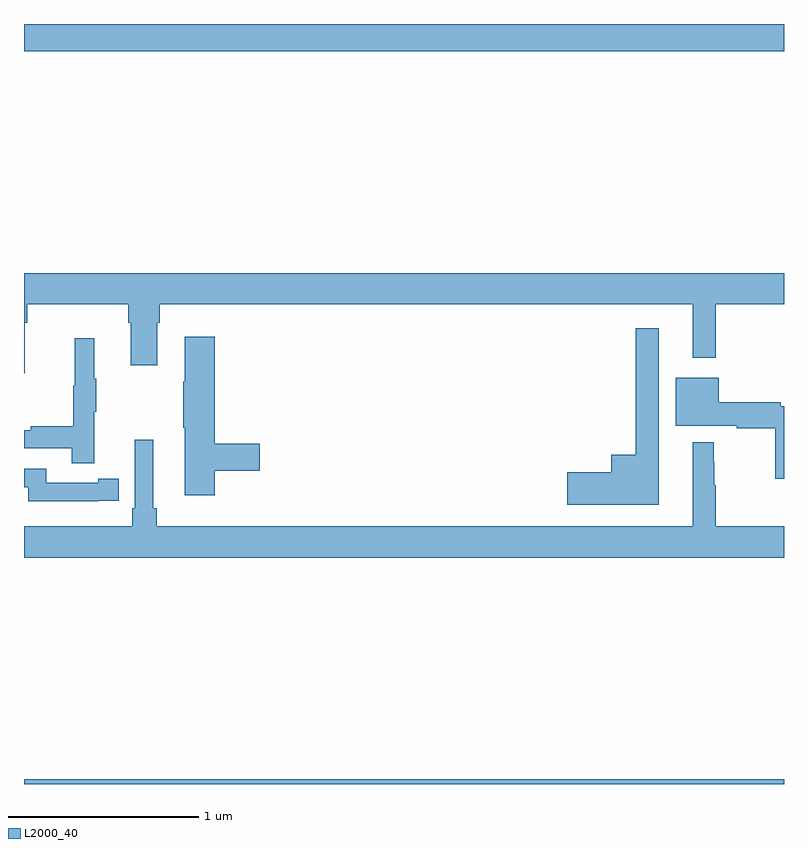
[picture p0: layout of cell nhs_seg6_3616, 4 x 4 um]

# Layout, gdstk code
import gdstk
lib = gdstk.Library(unit=1e-6, precision=1e-09)
def R(c, l, rs):  # rectangles x0, y0, x1, y1
    for r in rs: c.add(gdstk.rectangle(r[:2], r[2:], *l))
def P(c, l, *ps):  # polygons
    for p in ps: c.add(gdstk.Polygon(p, *l))
L2000_40 = (2000, 40)

nhs_seg6_3616 = lib.new_cell('nhs_seg6_3616')
R(nhs_seg6_3616, L2000_40, [(323,923.5,327,923.524), (323,927.356,327,927.5)])
P(nhs_seg6_3616, L2000_40, [(323.005,925.928),(323.018,925.928),(323.018,926.024),(323.549,926.024),(323.549,925.928),(323.561,925.928),(323.561,925.704),(323.701,925.704),(323.701,925.928),(323.714,925.928),(323.714,926.024),(326.519,926.024),(326.519,925.743),(326.641,925.743),(326.641,926.024),(327,926.024),(327,926.188),(323,926.188),(323,925.662),(323.005,925.662)],
  [(326.341,925.9),(326.22,925.9),(326.22,925.234),(326.09,925.234),(326.09,925.142),(325.86,925.142),(325.86,924.971),(326.341,924.971)],
  [(324.005,925.15),(324.241,925.15),(324.241,925.292),(324.005,925.292),(324.005,925.855),(323.846,925.855),(323.846,925.616),(323.839,925.616),(323.839,925.375),(323.846,925.375),(323.846,925.02),(324.005,925.02)],
  [(323.369,925.459),(323.38,925.459),(323.38,925.633),(323.369,925.633),(323.369,925.846),(323.266,925.846),(323.266,925.596),(323.259,925.596),(323.259,925.382),(323.035,925.382),(323.035,925.362),(323,925.362),(323,925.266),(323.251,925.266),(323.251,925.188),(323.369,925.188)],
  [(327,925.488),(326.984,925.488),(326.984,925.508),(326.656,925.508),(326.656,925.639),(326.429,925.639),(326.429,925.385),(326.752,925.385),(326.752,925.372),(326.953,925.372),(326.953,925.107),(327,925.107)],
  [(327,924.856),(326.641,924.856),(326.641,925.073),(326.633,925.073),(326.633,925.193),(326.63,925.193),(326.63,925.3),(326.519,925.3),(326.519,924.856),(323.699,924.856),(323.699,924.952),(323.68,924.952),(323.68,925.312),(323.583,925.312),(323.583,924.952),(323.57,924.952),(323.57,924.856),(323,924.856),(323,924.692),(327,924.692)],
  [(323.39,924.99),(323.498,924.99),(323.498,925.106),(323.39,925.106),(323.39,925.086),(323.118,925.086),(323.118,925.158),(323,925.158),(323,925.062),(323.022,925.062),(323.022,924.989),(323.39,924.989)])

lib.write_gds('nhs_seg6_3616.gds')
